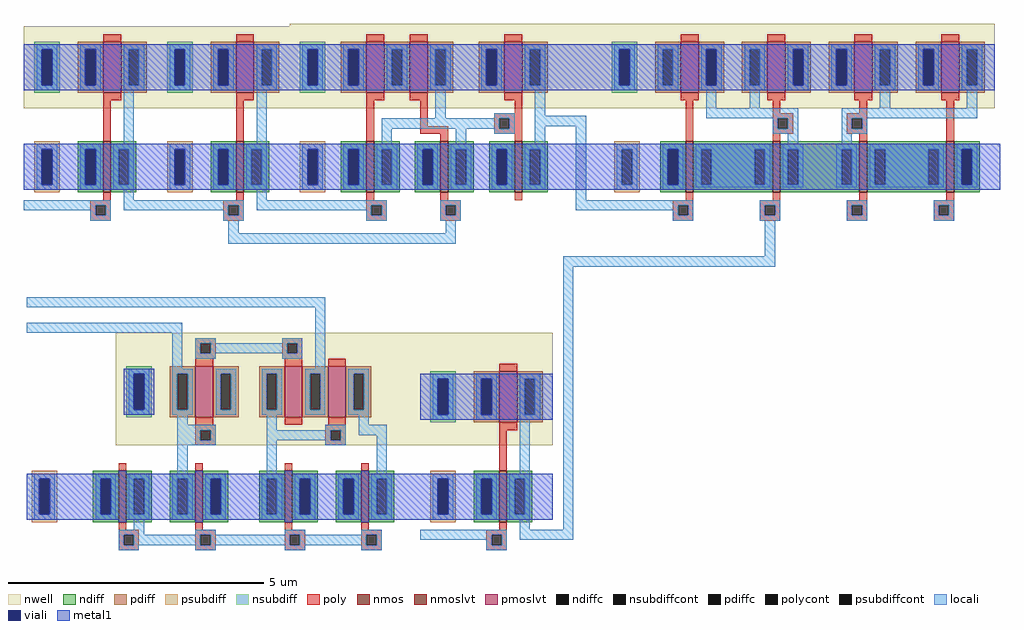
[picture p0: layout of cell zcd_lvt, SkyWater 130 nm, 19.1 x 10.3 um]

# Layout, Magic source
magic
tech sky130A
<< nwell >>
rect 1130 220 1900 385
rect 180 -440 1035 -220
<< pmoslvt >>
rect 335 -385 370 -285
rect 510 -385 545 -285
rect 595 -385 630 -285
<< nmoslvt >>
rect 185 -590 200 -490
rect 335 -590 350 -490
rect 510 -590 525 -490
rect 660 -590 675 -490
<< ndiff >>
rect 135 -505 185 -490
rect 135 -575 150 -505
rect 170 -575 185 -505
rect 135 -590 185 -575
rect 200 -505 250 -490
rect 200 -575 215 -505
rect 235 -575 250 -505
rect 200 -590 250 -575
rect 285 -505 335 -490
rect 285 -575 300 -505
rect 320 -575 335 -505
rect 285 -590 335 -575
rect 350 -505 400 -490
rect 350 -575 365 -505
rect 385 -575 400 -505
rect 350 -590 400 -575
rect 460 -505 510 -490
rect 460 -575 475 -505
rect 495 -575 510 -505
rect 460 -590 510 -575
rect 525 -505 575 -490
rect 525 -575 540 -505
rect 560 -575 575 -505
rect 525 -590 575 -575
rect 610 -505 660 -490
rect 610 -575 625 -505
rect 645 -575 660 -505
rect 610 -590 660 -575
rect 675 -505 725 -490
rect 675 -575 690 -505
rect 710 -575 725 -505
rect 675 -590 725 -575
<< pdiff >>
rect 285 -300 335 -285
rect 285 -370 300 -300
rect 320 -370 335 -300
rect 285 -385 335 -370
rect 370 -300 420 -285
rect 370 -370 385 -300
rect 405 -370 420 -300
rect 370 -385 420 -370
rect 460 -300 510 -285
rect 460 -370 475 -300
rect 495 -370 510 -300
rect 460 -385 510 -370
rect 545 -300 595 -285
rect 545 -370 560 -300
rect 580 -370 595 -300
rect 545 -385 595 -370
rect 630 -300 680 -285
rect 630 -370 645 -300
rect 665 -370 680 -300
rect 630 -385 680 -370
<< ndiffc >>
rect 150 -575 170 -505
rect 215 -575 235 -505
rect 300 -575 320 -505
rect 365 -575 385 -505
rect 475 -575 495 -505
rect 540 -575 560 -505
rect 625 -575 645 -505
rect 690 -575 710 -505
<< pdiffc >>
rect 300 -370 320 -300
rect 385 -370 405 -300
rect 475 -370 495 -300
rect 560 -370 580 -300
rect 645 -370 665 -300
<< psubdiff >>
rect 15 -505 65 -490
rect 15 -575 30 -505
rect 50 -575 65 -505
rect 15 -590 65 -575
<< nsubdiff >>
rect 200 -300 250 -285
rect 200 -370 215 -300
rect 235 -370 250 -300
rect 200 -385 250 -370
<< psubdiffcont >>
rect 30 -575 50 -505
<< nsubdiffcont >>
rect 215 -370 235 -300
<< poly >>
rect 335 -240 375 -230
rect 335 -260 345 -240
rect 365 -260 375 -240
rect 335 -270 375 -260
rect 505 -240 545 -230
rect 505 -260 515 -240
rect 535 -260 545 -240
rect 505 -270 545 -260
rect 335 -285 370 -270
rect 510 -285 545 -270
rect 595 -285 630 -270
rect 335 -400 370 -385
rect 510 -400 545 -385
rect 595 -400 630 -385
rect 335 -410 375 -400
rect 335 -430 345 -410
rect 365 -430 375 -410
rect 335 -440 375 -430
rect 590 -410 630 -400
rect 590 -430 600 -410
rect 620 -430 630 -410
rect 590 -440 630 -430
rect 185 -490 200 -475
rect 335 -490 350 -475
rect 510 -490 525 -475
rect 660 -490 675 -475
rect 185 -605 200 -590
rect 335 -605 350 -590
rect 510 -605 525 -590
rect 660 -605 675 -590
rect 185 -615 225 -605
rect 185 -635 195 -615
rect 215 -635 225 -615
rect 185 -645 225 -635
rect 335 -615 375 -605
rect 335 -635 345 -615
rect 365 -635 375 -615
rect 335 -645 375 -635
rect 510 -615 550 -605
rect 510 -635 520 -615
rect 540 -635 550 -615
rect 510 -645 550 -635
rect 660 -615 700 -605
rect 660 -635 670 -615
rect 690 -635 700 -615
rect 660 -645 700 -635
<< polycont >>
rect 345 -260 365 -240
rect 515 -260 535 -240
rect 345 -430 365 -410
rect 600 -430 620 -410
rect 195 -635 215 -615
rect 345 -635 365 -615
rect 520 -635 540 -615
rect 670 -635 690 -615
<< locali >>
rect 520 20 670 40
rect 1135 20 1270 40
rect 400 -25 420 10
rect 825 -25 845 10
rect 400 -45 845 -25
rect 1450 -70 1470 10
rect 1055 -90 1470 -70
rect 5 -170 590 -150
rect 5 -220 310 -200
rect 290 -290 310 -220
rect 335 -240 375 -230
rect 505 -240 545 -230
rect 335 -260 345 -240
rect 365 -260 515 -240
rect 535 -260 545 -240
rect 335 -270 375 -260
rect 505 -270 545 -260
rect 570 -290 590 -170
rect 205 -300 245 -290
rect 205 -370 215 -300
rect 235 -370 245 -300
rect 205 -380 245 -370
rect 290 -300 330 -290
rect 290 -370 300 -300
rect 320 -370 330 -300
rect 290 -380 330 -370
rect 375 -300 415 -290
rect 375 -370 385 -300
rect 405 -370 415 -300
rect 375 -380 415 -370
rect 465 -300 505 -290
rect 465 -370 475 -300
rect 495 -370 505 -300
rect 465 -380 505 -370
rect 550 -300 590 -290
rect 550 -370 560 -300
rect 580 -370 590 -300
rect 550 -380 590 -370
rect 635 -300 675 -290
rect 635 -370 645 -300
rect 665 -370 675 -300
rect 635 -380 675 -370
rect 300 -400 320 -380
rect 300 -410 375 -400
rect 300 -430 345 -410
rect 365 -430 375 -410
rect 300 -440 375 -430
rect 475 -410 495 -380
rect 655 -400 675 -380
rect 590 -410 630 -400
rect 475 -430 600 -410
rect 620 -430 630 -410
rect 655 -420 710 -400
rect 300 -495 320 -440
rect 475 -495 495 -430
rect 590 -440 630 -430
rect 690 -495 710 -420
rect 20 -505 60 -495
rect 20 -575 30 -505
rect 50 -575 60 -505
rect 20 -585 60 -575
rect 140 -505 180 -495
rect 140 -575 150 -505
rect 170 -575 180 -505
rect 140 -585 180 -575
rect 205 -505 245 -495
rect 205 -575 215 -505
rect 235 -575 245 -505
rect 205 -585 245 -575
rect 290 -505 330 -495
rect 290 -575 300 -505
rect 320 -575 330 -505
rect 290 -585 330 -575
rect 355 -505 395 -495
rect 355 -575 365 -505
rect 385 -575 395 -505
rect 355 -585 395 -575
rect 465 -505 505 -495
rect 465 -575 475 -505
rect 495 -575 505 -505
rect 465 -585 505 -575
rect 530 -505 570 -495
rect 530 -575 540 -505
rect 560 -575 570 -505
rect 530 -585 570 -575
rect 615 -505 655 -495
rect 615 -575 625 -505
rect 645 -575 655 -505
rect 615 -585 655 -575
rect 680 -505 720 -495
rect 680 -575 690 -505
rect 710 -575 720 -505
rect 680 -585 720 -575
rect 215 -605 235 -585
rect 1055 -605 1075 -90
rect 185 -615 235 -605
rect 335 -615 375 -605
rect 510 -615 550 -605
rect 660 -615 700 -605
rect 185 -635 195 -615
rect 215 -635 345 -615
rect 365 -635 520 -615
rect 540 -635 670 -615
rect 690 -635 700 -615
rect 1035 -625 1075 -605
rect 185 -645 225 -635
rect 335 -645 375 -635
rect 510 -645 550 -635
rect 660 -645 700 -635
<< viali >>
rect 215 -370 235 -300
rect 30 -575 50 -505
rect 150 -575 170 -505
rect 365 -575 385 -505
rect 540 -575 560 -505
rect 625 -575 645 -505
<< metal1 >>
rect 195 -300 255 -290
rect 195 -370 215 -300
rect 235 -370 255 -300
rect 195 -380 255 -370
rect 185 -495 200 -490
rect 335 -495 350 -490
rect 510 -495 525 -490
rect 660 -495 675 -490
rect 5 -505 775 -495
rect 5 -575 30 -505
rect 50 -575 150 -505
rect 170 -575 365 -505
rect 385 -575 540 -505
rect 560 -575 625 -505
rect 645 -575 775 -505
rect 5 -585 775 -575
rect 185 -590 200 -585
rect 335 -590 350 -585
rect 510 -590 525 -585
rect 660 -590 675 -585
use inverter_lvt_zcd  inverter_lvt_zcd_0
transform 1 0 185 0 1 80
box -185 -80 75 300
use inverter_lvt_zcd  inverter_lvt_zcd_1
transform 1 0 445 0 1 80
box -185 -80 75 300
use inverter_lvt_zcd  inverter_lvt_zcd_2
transform 1 0 960 0 1 -565
box -185 -80 75 300
use or_lvt_zcd  or_lvt_zcd_0
transform 1 0 725 0 1 105
box -205 -105 410 280
use sr_latch_lvt_zcd  sr_latch_lvt_zcd_0
transform 1 0 1410 0 1 130
box -280 -130 500 240
<< end >>

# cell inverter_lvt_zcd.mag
magic
tech sky130A
<< nwell >>
rect -185 140 75 300
<< pmoslvt >>
rect -30 170 5 270
<< nmoslvt >>
rect -30 -25 -15 75
<< ndiff >>
rect -80 60 -30 75
rect -80 -10 -65 60
rect -45 -10 -30 60
rect -80 -25 -30 -10
rect -15 60 35 75
rect -15 -10 0 60
rect 20 -10 35 60
rect -15 -25 35 -10
<< pdiff >>
rect -80 255 -30 270
rect -80 185 -65 255
rect -45 185 -30 255
rect -80 170 -30 185
rect 5 255 55 270
rect 5 185 20 255
rect 40 185 55 255
rect 5 170 55 185
<< ndiffc >>
rect -65 -10 -45 60
rect 0 -10 20 60
<< pdiffc >>
rect -65 185 -45 255
rect 20 185 40 255
<< psubdiff >>
rect -165 60 -115 75
rect -165 -10 -150 60
rect -130 -10 -115 60
rect -165 -25 -115 -10
<< nsubdiff >>
rect -165 255 -115 270
rect -165 185 -150 255
rect -130 185 -115 255
rect -165 170 -115 185
<< psubdiffcont >>
rect -150 -10 -130 60
<< nsubdiffcont >>
rect -150 185 -130 255
<< poly >>
rect -30 270 5 285
rect -30 155 5 170
rect -30 75 -15 155
rect -30 -40 -15 -25
rect -55 -50 -15 -40
rect -55 -70 -45 -50
rect -25 -70 -15 -50
rect -55 -80 -15 -70
<< polycont >>
rect -45 -70 -25 -50
<< locali >>
rect -160 255 -120 265
rect -160 185 -150 255
rect -130 185 -120 255
rect -160 175 -120 185
rect -75 255 -35 265
rect -75 185 -65 255
rect -45 185 -35 255
rect -75 175 -35 185
rect 10 255 50 265
rect 10 185 20 255
rect 40 185 50 255
rect 10 175 50 185
rect 10 70 30 175
rect -160 60 -120 70
rect -160 -10 -150 60
rect -130 -10 -120 60
rect -160 -20 -120 -10
rect -75 60 -35 70
rect -75 -10 -65 60
rect -45 -10 -35 60
rect -75 -20 -35 -10
rect -10 60 30 70
rect -10 -10 0 60
rect 20 -10 30 60
rect -10 -20 30 -10
rect 10 -40 30 -20
rect -185 -50 -15 -40
rect -185 -60 -45 -50
rect -55 -70 -45 -60
rect -25 -70 -15 -50
rect 10 -60 75 -40
rect -55 -80 -15 -70
<< viali >>
rect -150 185 -130 255
rect -65 185 -45 255
rect -150 -10 -130 60
rect -65 -10 -45 60
<< metal1 >>
rect -185 255 75 265
rect -185 185 -150 255
rect -130 185 -65 255
rect -45 185 75 255
rect -185 175 75 185
rect -185 60 75 70
rect -185 -10 -150 60
rect -130 -10 -65 60
rect -45 -10 75 60
rect -185 -20 75 -10
<< labels >>
rlabel metal1 -185 220 -185 220 7 VP
port 3 w
rlabel metal1 -185 25 -185 25 7 VN
port 4 w
rlabel locali -185 -50 -185 -50 7 in
port 1 w
rlabel locali 75 -45 75 -45 3 out
port 2 e
<< end >>

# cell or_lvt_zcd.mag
magic
tech sky130A
<< nwell >>
rect -205 115 405 280
<< pmoslvt >>
rect -55 145 -20 245
rect 30 145 65 245
rect 215 145 250 245
<< nmoslvt >>
rect -55 -50 -40 50
rect 90 -50 105 50
rect 235 -50 250 50
<< ndiff >>
rect -105 35 -55 50
rect -105 -35 -90 35
rect -70 -35 -55 35
rect -105 -50 -55 -35
rect -40 35 10 50
rect -40 -35 -25 35
rect -5 -35 10 35
rect -40 -50 10 -35
rect 40 35 90 50
rect 40 -35 55 35
rect 75 -35 90 35
rect 40 -50 90 -35
rect 105 35 155 50
rect 105 -35 120 35
rect 140 -35 155 35
rect 105 -50 155 -35
rect 185 35 235 50
rect 185 -35 200 35
rect 220 -35 235 35
rect 185 -50 235 -35
rect 250 35 300 50
rect 250 -35 265 35
rect 285 -35 300 35
rect 250 -50 300 -35
<< pdiff >>
rect -105 230 -55 245
rect -105 160 -90 230
rect -70 160 -55 230
rect -105 145 -55 160
rect -20 230 30 245
rect -20 160 -5 230
rect 15 160 30 230
rect -20 145 30 160
rect 65 230 115 245
rect 65 160 80 230
rect 100 160 115 230
rect 65 145 115 160
rect 165 230 215 245
rect 165 160 180 230
rect 200 160 215 230
rect 165 145 215 160
rect 250 230 300 245
rect 250 160 265 230
rect 285 160 300 230
rect 250 145 300 160
<< ndiffc >>
rect -90 -35 -70 35
rect -25 -35 -5 35
rect 55 -35 75 35
rect 120 -35 140 35
rect 200 -35 220 35
rect 265 -35 285 35
<< pdiffc >>
rect -90 160 -70 230
rect -5 160 15 230
rect 80 160 100 230
rect 180 160 200 230
rect 265 160 285 230
<< psubdiff >>
rect -185 35 -135 50
rect -185 -35 -170 35
rect -150 -35 -135 35
rect -185 -50 -135 -35
<< nsubdiff >>
rect -185 230 -135 245
rect -185 160 -170 230
rect -150 160 -135 230
rect -185 145 -135 160
<< psubdiffcont >>
rect -170 -35 -150 35
<< nsubdiffcont >>
rect -170 160 -150 230
<< poly >>
rect -55 245 -20 260
rect 30 245 65 260
rect 215 245 250 260
rect -55 130 -20 145
rect 30 130 65 145
rect 215 130 250 145
rect -55 50 -40 130
rect 50 80 65 130
rect 235 105 250 130
rect 195 95 250 105
rect 50 65 105 80
rect 195 75 205 95
rect 225 75 250 95
rect 195 65 250 75
rect 90 50 105 65
rect 235 50 250 65
rect -55 -65 -40 -50
rect 90 -65 105 -50
rect 235 -65 250 -50
rect -55 -75 -15 -65
rect -55 -95 -45 -75
rect -25 -95 -15 -75
rect -55 -105 -15 -95
rect 90 -75 130 -65
rect 90 -95 100 -75
rect 120 -95 130 -75
rect 90 -105 130 -95
<< polycont >>
rect 205 75 225 95
rect -45 -95 -25 -75
rect 100 -95 120 -75
<< locali >>
rect -180 230 -140 240
rect -180 160 -170 230
rect -150 160 -140 230
rect -180 150 -140 160
rect -100 230 -60 240
rect -100 160 -90 230
rect -70 160 -60 230
rect -100 150 -60 160
rect -15 230 25 240
rect -15 160 -5 230
rect 15 160 25 230
rect -15 150 25 160
rect 70 230 110 240
rect 70 160 80 230
rect 100 160 110 230
rect 70 150 110 160
rect 170 230 210 240
rect 170 160 180 230
rect 200 160 210 230
rect 170 150 210 160
rect 255 230 295 240
rect 255 160 265 230
rect 285 160 295 230
rect 255 150 295 160
rect 80 95 100 150
rect 195 95 235 105
rect -25 75 205 95
rect 225 75 235 95
rect -25 45 -5 75
rect 120 45 140 75
rect 195 65 235 75
rect 275 100 295 150
rect 275 80 375 100
rect 275 45 295 80
rect -180 35 -140 45
rect -180 -35 -170 35
rect -150 -35 -140 35
rect -180 -45 -140 -35
rect -100 35 -60 45
rect -100 -35 -90 35
rect -70 -35 -60 35
rect -100 -45 -60 -35
rect -35 35 5 45
rect -35 -35 -25 35
rect -5 -35 5 35
rect -35 -45 5 -35
rect 45 35 85 45
rect 45 -35 55 35
rect 75 -35 85 35
rect 45 -45 85 -35
rect 110 35 150 45
rect 110 -35 120 35
rect 140 -35 150 35
rect 110 -45 150 -35
rect 190 35 230 45
rect 190 -35 200 35
rect 220 -35 230 35
rect 190 -45 230 -35
rect 255 35 295 45
rect 255 -35 265 35
rect 285 -35 295 35
rect 255 -45 295 -35
rect 355 -65 375 80
rect -55 -75 -15 -65
rect -55 -95 -45 -75
rect -25 -95 -15 -75
rect -55 -105 -15 -95
rect 90 -75 130 -65
rect 90 -95 100 -75
rect 120 -95 130 -75
rect 355 -85 410 -65
rect 90 -105 130 -95
<< viali >>
rect -170 160 -150 230
rect -90 160 -70 230
rect 180 160 200 230
rect -170 -35 -150 35
rect -90 -35 -70 35
rect 55 -35 75 35
rect 200 -35 220 35
<< metal1 >>
rect -205 230 405 240
rect -205 160 -170 230
rect -150 160 -90 230
rect -70 160 180 230
rect 200 160 405 230
rect -205 150 405 160
rect -205 35 405 45
rect -205 -35 -170 35
rect -150 -35 -90 35
rect -70 -35 55 35
rect 75 -35 200 35
rect 220 -35 405 35
rect -205 -45 405 -35
<< labels >>
rlabel metal1 -205 195 -205 195 7 VP
port 1 w
rlabel metal1 -205 0 -205 0 7 VN
port 2 w
rlabel locali -35 -105 -35 -105 5 A
port 3 s
rlabel locali 110 -105 110 -105 5 B
port 4 s
rlabel locali 335 90 335 90 3 Y
port 5 e
<< end >>

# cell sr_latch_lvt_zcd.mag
magic
tech sky130A
<< nwell >>
rect -280 95 490 240
<< nmos >>
rect -115 -75 -100 25
rect 55 -75 70 25
rect 225 -75 240 25
rect 395 -75 410 25
<< pmoslvt >>
rect -125 120 -90 220
rect 45 120 80 220
rect 215 120 250 220
rect 385 120 420 220
<< ndiff >>
rect -165 10 -115 25
rect -165 -60 -150 10
rect -130 -60 -115 10
rect -165 -75 -115 -60
rect -100 10 55 25
rect -100 -60 -85 10
rect -65 -60 20 10
rect 40 -60 55 10
rect -100 -75 55 -60
rect 70 10 225 25
rect 70 -60 85 10
rect 105 -60 190 10
rect 210 -60 225 10
rect 70 -75 225 -60
rect 240 10 395 25
rect 240 -60 255 10
rect 275 -60 360 10
rect 380 -60 395 10
rect 240 -75 395 -60
rect 410 10 460 25
rect 410 -60 425 10
rect 445 -60 460 10
rect 410 -75 460 -60
<< pdiff >>
rect -175 205 -125 220
rect -175 135 -160 205
rect -140 135 -125 205
rect -175 120 -125 135
rect -90 205 -40 220
rect -90 135 -75 205
rect -55 135 -40 205
rect -90 120 -40 135
rect -5 205 45 220
rect -5 135 10 205
rect 30 135 45 205
rect -5 120 45 135
rect 80 205 130 220
rect 80 135 95 205
rect 115 135 130 205
rect 80 120 130 135
rect 165 205 215 220
rect 165 135 180 205
rect 200 135 215 205
rect 165 120 215 135
rect 250 205 300 220
rect 250 135 265 205
rect 285 135 300 205
rect 250 120 300 135
rect 335 205 385 220
rect 335 135 350 205
rect 370 135 385 205
rect 335 120 385 135
rect 420 205 470 220
rect 420 135 435 205
rect 455 135 470 205
rect 420 120 470 135
<< ndiffc >>
rect -150 -60 -130 10
rect -85 -60 -65 10
rect 20 -60 40 10
rect 85 -60 105 10
rect 190 -60 210 10
rect 255 -60 275 10
rect 360 -60 380 10
rect 425 -60 445 10
<< pdiffc >>
rect -160 135 -140 205
rect -75 135 -55 205
rect 10 135 30 205
rect 95 135 115 205
rect 180 135 200 205
rect 265 135 285 205
rect 350 135 370 205
rect 435 135 455 205
<< psubdiff >>
rect -255 10 -205 25
rect -255 -60 -240 10
rect -220 -60 -205 10
rect -255 -75 -205 -60
<< nsubdiff >>
rect -260 205 -210 220
rect -260 135 -245 205
rect -225 135 -210 205
rect -260 120 -210 135
<< psubdiffcont >>
rect -240 -60 -220 10
<< nsubdiffcont >>
rect -245 135 -225 205
<< poly >>
rect -125 220 -90 235
rect 45 220 80 235
rect 215 220 250 235
rect 385 220 420 235
rect -125 105 -90 120
rect 45 105 80 120
rect 215 105 250 120
rect 385 105 420 120
rect -115 25 -100 105
rect 55 80 70 105
rect 225 80 240 105
rect 55 70 95 80
rect 55 50 65 70
rect 85 50 95 70
rect 55 40 95 50
rect 200 70 240 80
rect 200 50 210 70
rect 230 50 240 70
rect 200 40 240 50
rect 55 25 70 40
rect 225 25 240 40
rect 395 25 410 105
rect -115 -90 -100 -75
rect 55 -90 70 -75
rect 225 -90 240 -75
rect 395 -90 410 -75
rect -140 -100 -100 -90
rect -140 -120 -130 -100
rect -110 -120 -100 -100
rect -140 -130 -100 -120
rect 30 -100 70 -90
rect 30 -120 40 -100
rect 60 -120 70 -100
rect 30 -130 70 -120
rect 200 -100 240 -90
rect 200 -120 210 -100
rect 230 -120 240 -100
rect 200 -130 240 -120
rect 370 -100 410 -90
rect 370 -120 380 -100
rect 400 -120 410 -100
rect 370 -130 410 -120
<< polycont >>
rect 65 50 85 70
rect 210 50 230 70
rect -130 -120 -110 -100
rect 40 -120 60 -100
rect 210 -120 230 -100
rect 380 -120 400 -100
<< locali >>
rect -255 205 -215 215
rect -255 135 -245 205
rect -225 135 -215 205
rect -255 125 -215 135
rect -170 205 -130 215
rect -170 135 -160 205
rect -140 135 -130 205
rect -170 125 -130 135
rect -85 205 -45 215
rect -85 135 -75 205
rect -55 135 -45 205
rect -85 125 -45 135
rect 0 205 40 215
rect 0 135 10 205
rect 30 135 40 205
rect 0 125 40 135
rect 85 205 125 215
rect 85 135 95 205
rect 115 135 125 205
rect 85 125 125 135
rect 170 205 210 215
rect 170 135 180 205
rect 200 135 210 205
rect 170 125 210 135
rect 255 205 295 215
rect 255 135 265 205
rect 285 135 295 205
rect 255 125 295 135
rect 340 205 380 215
rect 340 135 350 205
rect 370 135 380 205
rect 340 125 380 135
rect 425 205 465 215
rect 425 135 435 205
rect 455 135 465 205
rect 425 125 465 135
rect -75 90 -55 125
rect 10 90 30 125
rect 265 90 285 125
rect 435 90 455 125
rect -75 70 105 90
rect 55 50 65 70
rect 85 50 105 70
rect 55 40 105 50
rect 85 20 105 40
rect 190 70 455 90
rect 190 50 210 70
rect 230 50 240 70
rect 190 40 240 50
rect 190 20 210 40
rect -250 10 -210 20
rect -250 -60 -240 10
rect -220 -60 -210 10
rect -250 -70 -210 -60
rect -160 10 -120 20
rect -160 -60 -150 10
rect -130 -60 -120 10
rect -160 -70 -120 -60
rect -95 10 50 20
rect -95 -60 -85 10
rect -65 -60 20 10
rect 40 -60 50 10
rect -95 -65 50 -60
rect 75 10 115 20
rect 75 -60 85 10
rect 105 -60 115 10
rect 75 -65 115 -60
rect 180 10 220 20
rect 180 -60 190 10
rect 210 -60 220 10
rect 180 -65 220 -60
rect 245 10 390 20
rect 245 -60 255 10
rect 275 -60 360 10
rect 380 -60 390 10
rect 245 -65 390 -60
rect 415 10 455 20
rect 415 -60 425 10
rect 445 -60 455 10
rect 415 -65 455 -60
rect -140 -100 -100 -90
rect -140 -120 -130 -100
rect -110 -120 -100 -100
rect -140 -130 -100 -120
rect 30 -100 70 -90
rect 30 -120 40 -100
rect 60 -120 70 -100
rect 30 -130 70 -120
rect 200 -100 240 -90
rect 200 -120 210 -100
rect 230 -120 240 -100
rect 200 -130 240 -120
rect 370 -100 410 -90
rect 370 -120 380 -100
rect 400 -120 410 -100
rect 370 -130 410 -120
<< viali >>
rect -245 135 -225 205
rect -75 135 -55 205
rect 95 135 115 205
rect 180 135 200 205
rect 350 135 370 205
rect -150 -60 -130 10
rect 425 -60 445 10
<< metal1 >>
rect -280 205 490 215
rect -280 135 -245 205
rect -225 135 -75 205
rect -55 135 95 205
rect 115 135 180 205
rect 200 135 350 205
rect 370 135 490 205
rect -280 125 490 135
rect -280 10 500 20
rect -280 -60 -150 10
rect -130 -60 425 10
rect 445 -60 500 10
rect -280 -70 500 -60
<< labels >>
rlabel metal1 -280 170 -280 170 7 VP
port 1 w
rlabel metal1 -280 -20 -280 -20 7 VN
port 2 w
rlabel locali -120 -130 -120 -130 5 S
port 3 s
rlabel locali 50 -130 50 -130 5 Q
port 5 s
rlabel locali 220 -130 220 -130 5 Qb
port 6 s
rlabel locali 390 -130 390 -130 5 R
port 4 s
<< end >>
